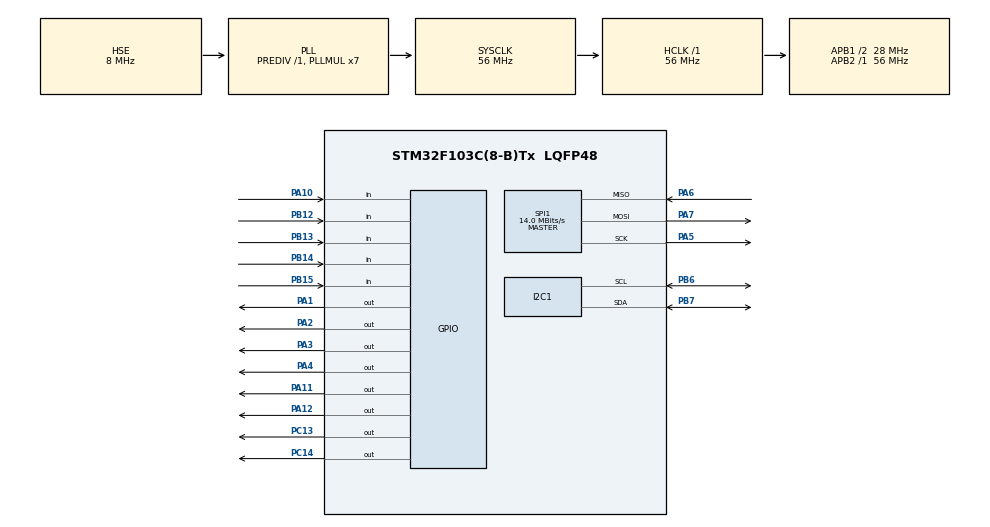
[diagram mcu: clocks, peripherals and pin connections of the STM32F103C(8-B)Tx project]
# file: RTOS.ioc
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FREERTOS.Tasks01=defaultTask,0,512,StartDefaultTask,Default,NULL,Dynamic,NULL,NULL
Mcu.Family=STM32F1
Mcu.Name=STM32F103C(8-B)Tx
Mcu.Package=LQFP48
NVIC.PriorityGroup=NVIC_PRIORITYGROUP_4
NVIC.TIM1_UP_IRQn=true\:0\:0\:false\:false\:true\:false\:false\:true
NVIC.TimeBase=TIM1_UP_IRQn
NVIC.TimeBaseIP=TIM1
PA1.Signal=GPIO_Output
PA10.GPIO_PuPd=GPIO_PULLUP
PA10.Signal=GPIO_Input
PA11.Signal=GPIO_Output
PA12.Signal=GPIO_Output
PA13.Mode=Serial_Wire
PA13.Signal=SYS_JTMS-SWDIO
PA14.Mode=Serial_Wire
PA14.Signal=SYS_JTCK-SWCLK
PA2.Signal=GPIO_Output
PA3.Signal=GPIO_Output
PA4.Signal=GPIO_Output
PA5.Mode=Full_Duplex_Master
PA5.Signal=SPI1_SCK
PA6.Mode=Full_Duplex_Master
PA6.Signal=SPI1_MISO
PA7.Mode=Full_Duplex_Master
PA7.Signal=SPI1_MOSI
PB12.GPIO_PuPd=GPIO_PULLUP
PB12.Signal=GPIO_Input
PB13.GPIO_PuPd=GPIO_PULLUP
PB13.Signal=GPIO_Input
PB14.GPIO_PuPd=GPIO_PULLUP
PB14.Signal=GPIO_Input
PB15.GPIO_PuPd=GPIO_PULLUP
PB15.Signal=GPIO_Input
PB6.Mode=I2C
PB6.Signal=I2C1_SCL
PB7.Mode=I2C
PB7.Signal=I2C1_SDA
PC13-TAMPER-RTC.PinState=GPIO_PIN_SET
PC13-TAMPER-RTC.Signal=GPIO_Output
PC14-OSC32_IN.Signal=GPIO_Output
PD0-OSC_IN.Mode=HSE-External-Oscillator
PD0-OSC_IN.Signal=RCC_OSC_IN
PD1-OSC_OUT.Mode=HSE-External-Oscillator
PD1-OSC_OUT.Signal=RCC_OSC_OUT
ProjectManager.HeapSize=0x200
ProjectManager.StackSize=0x400
ProjectManager.TargetToolchain=MDK-ARM V5
RCC.AHBFreq_Value=56000000
RCC.APB1CLKDivider=RCC_HCLK_DIV2
RCC.APB1Freq_Value=28000000
RCC.APB1TimFreq_Value=56000000
RCC.APB2Freq_Value=56000000
RCC.APB2TimFreq_Value=56000000
RCC.HCLKFreq_Value=56000000
RCC.PLLMUL=RCC_PLL_MUL7
RCC.PLLSourceVirtual=RCC_PLLSOURCE_HSE
RCC.SYSCLKFreq_VALUE=56000000
RCC.SYSCLKSource=RCC_SYSCLKSOURCE_PLLCLK
RCC.USBFreq_Value=56000000
SPI1.BaudRatePrescaler=SPI_BAUDRATEPRESCALER_4
SPI1.CalculateBaudRate=14.0 MBits/s
SPI1.Direction=SPI_DIRECTION_2LINES
SPI1.Mode=SPI_MODE_MASTER
SPI1.VirtualType=VM_MASTER
TIM2.Period=0xFFFF-1
TIM2.Prescaler=56-1
VP_FREERTOS_VS_CMSIS_V1.Mode=CMSIS_V1
VP_SYS_VS_tim1.Mode=TIM1
VP_TIM2_VS_ClockSourceINT.Mode=Internal
board=custom

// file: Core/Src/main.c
/* USER CODE BEGIN Header */
/**
  ******************************************************************************
  * @file           : main.c
  * @brief          : Main program body
  ******************************************************************************
  * @attention
  *
  * <h2><center>&copy; Copyright (c) 2020 STMicroelectronics.
  * All rights reserved.</center></h2>
  *
  * This software component is licensed by ST under Ultimate Liberty license
  * SLA0044, the "License"; You may not use this file except in compliance with
  * the License. You may obtain a copy of the License at:
  *                             www.st.com/SLA0044
  *
  ******************************************************************************
  */
/* USER CODE END Header */

#include "main.h"
#include "cmsis_os.h"

/* USER CODE BEGIN Includes */
#include "ds1307.h"
#include "i2c-lcd.h"
#include "rc522.h"
#include "stdio.h"
#include "flash.h"
#include "string.h"
/* USER CODE END Includes */

/* USER CODE BEGIN PTD */
int i=0;
/* USER CODE END PTD */

I2C_HandleTypeDef hi2c1;

SPI_HandleTypeDef hspi1;

TIM_HandleTypeDef htim2;

osThreadId defaultTaskHandle;

void SystemClock_Config(void);
static void MX_GPIO_Init(void);
static void MX_I2C1_Init(void);
static void MX_SPI1_Init(void);
static void MX_TIM2_Init(void);
void StartDefaultTask(void const * argument);

/* USER CODE BEGIN PFP */
DS1307_Handle ds1307;
DS1307_TIME time;
I2C_HandleTypeDef i2c_handle;
void delay (uint16_t times)
{
	/* change your code here for the delay in microseconds */
	__HAL_TIM_SET_COUNTER(&htim2, 0);
	while ((__HAL_TIM_GET_COUNTER(&htim2))<times);
}
uint8_t Rh_byte1, Rh_byte2, Temp_byte1, Temp_byte2;
uint16_t SUM, RH, TEMP;
uint8_t Presence = 0;
int Temperature = 0;
int Humidity = 0;
char str1[20];
char str2[20];

/* USER CODE END PFP */

/* USER CODE BEGIN 0 */
#define DHT11_PORT GPIOC
#define DHT11_PIN GPIO_PIN_14
/* USER CODE END 0 */
void Set_Pin_Output (GPIO_TypeDef *GPIOx, uint16_t GPIO_Pin)
{
	GPIO_InitTypeDef GPIO_InitStruct = {0};
	GPIO_InitStruct.Pin = GPIO_Pin;
	GPIO_InitStruct.Mode = GPIO_MODE_OUTPUT_PP;
	GPIO_InitStruct.Speed = GPIO_SPEED_FREQ_HIGH;
	HAL_GPIO_Init(GPIOx, &GPIO_InitStruct);
}
void Set_Pin_Input (GPIO_TypeDef *GPIOx, uint16_t GPIO_Pin)
{
	GPIO_InitTypeDef GPIO_InitStruct = {0};
	GPIO_InitStruct.Pin = GPIO_Pin;
	GPIO_InitStruct.Mode = GPIO_MODE_INPUT;
	GPIO_InitStruct.Pull = GPIO_NOPULL;
	HAL_GPIO_Init(GPIOx, &GPIO_InitStruct);
}
void DHT11_Start (void)
{
	Set_Pin_Output (DHT11_PORT, DHT11_PIN);  // set the pin as output
	HAL_GPIO_WritePin (DHT11_PORT, DHT11_PIN, GPIO_PIN_SET);
	delay(1000);//1ms

	HAL_GPIO_WritePin (DHT11_PORT, DHT11_PIN, GPIO_PIN_RESET);   // pull the pin low
	delay (18000);   // wait for 18ms
    HAL_GPIO_WritePin (DHT11_PORT, DHT11_PIN, GPIO_PIN_SET);   // pull the pin high
	delay (20);   // wait for 20us
	Set_Pin_Input(DHT11_PORT, DHT11_PIN);    // set as input
}
uint8_t DHT11_Check_Response (void)
{
	uint8_t Response = 0;
	delay (40);
	if (!(HAL_GPIO_ReadPin (DHT11_PORT, DHT11_PIN)))
	{
		delay (80);
		if ((HAL_GPIO_ReadPin (DHT11_PORT, DHT11_PIN))) Response = 1;
		else Response = -1; // 255
	}
	while ((HAL_GPIO_ReadPin (DHT11_PORT, DHT11_PIN)));		// wait for the pin to go low

	return Response;
}
uint8_t DHT11_Read (void)
{
	uint8_t k,l;
	for (l=0;l<8;l++)
	{
		while (!(HAL_GPIO_ReadPin (DHT11_PORT, DHT11_PIN)));   // wait for the pin to go high
		delay (40);   // wait for 40 us
		if (!(HAL_GPIO_ReadPin (DHT11_PORT, DHT11_PIN)))   // if the pin is low
		{
			k&= ~(1<<(7-l)); 			// write 0
		}
		else k|= (1<<(7-l));  // if the pin is high, write 1
		while ((HAL_GPIO_ReadPin (DHT11_PORT, DHT11_PIN)));		// wait for the pin to go low
	}
	return k;
}
DS1307_RESULT confDS1307(void) {

ds1307.i2c = &i2c_handle;
 ds1307.DS1307_ADDRESS = 0xD0;
 ds1307.DS1307_CLOCK = 100000;
 ds1307.DS1307_I2Cx = I2C1;
 ds1307.TIMEOUT = 1000;
 DS1307_RESULT res;
 res = DS1307_Init(&ds1307);
 if (res != DS1307_RES_OK) {
 return DS1307_RES_ERROR;
 }
 res = DS1307_ClockResume(&ds1307);
 if (res != DS1307_RES_OK) {
 return DS1307_RES_ERROR;
 }
 res = DS1307_EnableSquareWave(&ds1307);
 if (res != DS1307_RES_OK) {
 return DS1307_RES_ERROR;
 }
 res = DS1307_SelectRate(&ds1307, DS1307_RATE_1HZ);
 if (res != DS1307_RES_OK) {
 return DS1307_RES_ERROR;
 }
 return DS1307_RES_OK;
}
char Date[20];//ngay thang
			char Now[20];//gio phut
			char Th[20];//thu
unsigned char CardID[5];
char dataOut[100];
char data[100];
int gio=0,phut=0,giay=0,ngay=0,thang=0,nam=0,thu=0;
int giosang=6,phutsang=0;
int giotoi=18,phuttoi=0;
char giosang2[10],giotoi2[10],phutsang2[10],phuttoi2[10];
char gio2[10],phut2[10],giay2[10],ngay2[10],thang2[10],nam2[10];
int o;
int nhietdo =40;
int doam = 70;
char nhietdo2[10];
char doam2[10];
//int state=0;
//int bug=0;
#define DATA_START_ADDRESS 		 	((uint32_t)0x0801FC00)	//Page 127
#define LENGTH_START_ADDRESS 		((uint32_t)0x0801F810)	//Page 126
int main(void)
{

  /* MCU Configuration--------------------------------------------------------*/

  /* Reset of all peripherals, Initializes the Flash interface and the Systick. */
  HAL_Init();

  /* Configure the system clock */
  SystemClock_Config();

  /* Initialize all configured peripherals */
  MX_GPIO_Init();
  MX_I2C1_Init();
  MX_SPI1_Init();
  MX_TIM2_Init();
  /* USER CODE BEGIN 2 */
HAL_TIM_Base_Start(&htim2);
  /* USER CODE END 2 */

  /* Create the thread(s) */
  /* definition and creation of defaultTask */
  osThreadDef(defaultTask, StartDefaultTask, osPriorityNormal, 0, 512);
  defaultTaskHandle = osThreadCreate(osThread(defaultTask), NULL);

  /* Start scheduler */
  osKernelStart();

  /* We should never get here as control is now taken by the scheduler */
  /* Infinite loop */
  while (1)
  {

  }
}

void SystemClock_Config(void)
{
  RCC_OscInitTypeDef RCC_OscInitStruct = {0};
  RCC_ClkInitTypeDef RCC_ClkInitStruct = {0};

  /** Initializes the CPU, AHB and APB busses clocks
  */
  RCC_OscInitStruct.OscillatorType = RCC_OSCILLATORTYPE_HSE;
  RCC_OscInitStruct.HSEState = RCC_HSE_ON;
  RCC_OscInitStruct.HSEPredivValue = RCC_HSE_PREDIV_DIV1;
  RCC_OscInitStruct.HSIState = RCC_HSI_ON;
  RCC_OscInitStruct.PLL.PLLState = RCC_PLL_ON;
  RCC_OscInitStruct.PLL.PLLSource = RCC_PLLSOURCE_HSE;
  RCC_OscInitStruct.PLL.PLLMUL = RCC_PLL_MUL7;
  if (HAL_RCC_OscConfig(&RCC_OscInitStruct) != HAL_OK)
  {
    Error_Handler();
  }
  /** Initializes the CPU, AHB and APB busses clocks
  */
  RCC_ClkInitStruct.ClockType = RCC_CLOCKTYPE_HCLK|RCC_CLOCKTYPE_SYSCLK
                              |RCC_CLOCKTYPE_PCLK1|RCC_CLOCKTYPE_PCLK2;
  RCC_ClkInitStruct.SYSCLKSource = RCC_SYSCLKSOURCE_PLLCLK;
  RCC_ClkInitStruct.AHBCLKDivider = RCC_SYSCLK_DIV1;
  RCC_ClkInitStruct.APB1CLKDivider = RCC_HCLK_DIV2;
  RCC_ClkInitStruct.APB2CLKDivider = RCC_HCLK_DIV1;

  if (HAL_RCC_ClockConfig(&RCC_ClkInitStruct, FLASH_LATENCY_2) != HAL_OK)
  {
    Error_Handler();
  }
}

static void MX_I2C1_Init(void)
{

  hi2c1.Instance = I2C1;
  hi2c1.Init.ClockSpeed = 100000;
  hi2c1.Init.DutyCycle = I2C_DUTYCYCLE_2;
  hi2c1.Init.OwnAddress1 = 0;
  hi2c1.Init.AddressingMode = I2C_ADDRESSINGMODE_7BIT;
  hi2c1.Init.DualAddressMode = I2C_DUALADDRESS_DISABLE;
  hi2c1.Init.OwnAddress2 = 0;
  hi2c1.Init.GeneralCallMode = I2C_GENERALCALL_DISABLE;
  hi2c1.Init.NoStretchMode = I2C_NOSTRETCH_DISABLE;
  if (HAL_I2C_Init(&hi2c1) != HAL_OK)
  {
    Error_Handler();
  }

}

static void MX_SPI1_Init(void)
{

  /* SPI1 parameter configuration*/
  hspi1.Instance = SPI1;
  hspi1.Init.Mode = SPI_MODE_MASTER;
  hspi1.Init.Direction = SPI_DIRECTION_2LINES;
  hspi1.Init.DataSize = SPI_DATASIZE_8BIT;
  hspi1.Init.CLKPolarity = SPI_POLARITY_LOW;
  hspi1.Init.CLKPhase = SPI_PHASE_1EDGE;
  hspi1.Init.NSS = SPI_NSS_SOFT;
  hspi1.Init.BaudRatePrescaler = SPI_BAUDRATEPRESCALER_4;
  hspi1.Init.FirstBit = SPI_FIRSTBIT_MSB;
  hspi1.Init.TIMode = SPI_TIMODE_DISABLE;
  hspi1.Init.CRCCalculation = SPI_CRCCALCULATION_DISABLE;
  hspi1.Init.CRCPolynomial = 10;
  if (HAL_SPI_Init(&hspi1) != HAL_OK)
  {
    Error_Handler();
  }

}

static void MX_TIM2_Init(void)
{

  TIM_ClockConfigTypeDef sClockSourceConfig = {0};
  TIM_MasterConfigTypeDef sMasterConfig = {0};

  htim2.Instance = TIM2;
  htim2.Init.Prescaler = 56-1;
  htim2.Init.CounterMode = TIM_COUNTERMODE_UP;
  htim2.Init.Period = 0xFFFF-1;
  htim2.Init.ClockDivision = TIM_CLOCKDIVISION_DIV1;
  htim2.Init.AutoReloadPreload = TIM_AUTORELOAD_PRELOAD_DISABLE;
  if (HAL_TIM_Base_Init(&htim2) != HAL_OK)
  {
    Error_Handler();
  }
  sClockSourceConfig.ClockSource = TIM_CLOCKSOURCE_INTERNAL;
  if (HAL_TIM_ConfigClockSource(&htim2, &sClockSourceConfig) != HAL_OK)
  {
    Error_Handler();
  }
  sMasterConfig.MasterOutputTrigger = TIM_TRGO_RESET;
  sMasterConfig.MasterSlaveMode = TIM_MASTERSLAVEMODE_DISABLE;
  if (HAL_TIMEx_MasterConfigSynchronization(&htim2, &sMasterConfig) != HAL_OK)
  {
    Error_Handler();
  }

}

static void MX_GPIO_Init(void)
{
  GPIO_InitTypeDef GPIO_InitStruct = {0};

  /* GPIO Ports Clock Enable */
  __HAL_RCC_GPIOC_CLK_ENABLE();
  __HAL_RCC_GPIOD_CLK_ENABLE();
  __HAL_RCC_GPIOA_CLK_ENABLE();
  __HAL_RCC_GPIOB_CLK_ENABLE();

  /*Configure GPIO pin Output Level */
  HAL_GPIO_WritePin(GPIOC, GPIO_PIN_13, GPIO_PIN_SET);

  /*Configure GPIO pin Output Level */
 // HAL_GPIO_WritePin(GPIOC, GPIO_PIN_14, GPIO_PIN_RESET);

  /*Configure GPIO pin Output Level */
  HAL_GPIO_WritePin(GPIOA, GPIO_PIN_1|GPIO_PIN_2|GPIO_PIN_3|GPIO_PIN_4
                          |GPIO_PIN_11|GPIO_PIN_12, GPIO_PIN_RESET);

  /*Configure GPIO pins : PC13 PC14 */
  GPIO_InitStruct.Pin = GPIO_PIN_13;//|GPIO_PIN_14;
  GPIO_InitStruct.Mode = GPIO_MODE_OUTPUT_PP;
  GPIO_InitStruct.Pull = GPIO_NOPULL;
  GPIO_InitStruct.Speed = GPIO_SPEED_FREQ_LOW;
  HAL_GPIO_Init(GPIOC, &GPIO_InitStruct);

  /*Configure GPIO pins : PA1 PA2 PA3 PA4
                           PA11 PA12 */
  GPIO_InitStruct.Pin = GPIO_PIN_1|GPIO_PIN_2|GPIO_PIN_3|GPIO_PIN_4
                          |GPIO_PIN_11|GPIO_PIN_12;
  GPIO_InitStruct.Mode = GPIO_MODE_OUTPUT_PP;
  GPIO_InitStruct.Pull = GPIO_NOPULL;
  GPIO_InitStruct.Speed = GPIO_SPEED_FREQ_LOW;
  HAL_GPIO_Init(GPIOA, &GPIO_InitStruct);

  /*Configure GPIO pins : PB12 PB13 PB14 PB15 */
  GPIO_InitStruct.Pin = GPIO_PIN_12|GPIO_PIN_13|GPIO_PIN_14|GPIO_PIN_15;
  GPIO_InitStruct.Mode = GPIO_MODE_INPUT;
  GPIO_InitStruct.Pull = GPIO_PULLUP;
  HAL_GPIO_Init(GPIOB, &GPIO_InitStruct);

  /*Configure GPIO pin : PA10 */
  GPIO_InitStruct.Pin = GPIO_PIN_10;
  GPIO_InitStruct.Mode = GPIO_MODE_INPUT;
  GPIO_InitStruct.Pull = GPIO_PULLUP;
  HAL_GPIO_Init(GPIOA, &GPIO_InitStruct);

}

void StartDefaultTask(void const * argument)
{
  /* USER CODE BEGIN 5 */
	if (confDS1307()!=DS1307_RES_OK)
		{
			}
		time.hour=gio;
		time.minute=phut;
		time.second=giay;
		time.day=ngay;
		time.month=thang;
		time.year=nam;
		time.date=thu;
			DS1307_SetTime(&ds1307,time);
	lcd_init();
			MFRC522_Init();
			lcd_clear_display();
			HAL_Delay(20);
		//	DHT11_Start();
  /* Infinite loop */
  for(;;)
  {
		//xuat nhiet do do am
		DHT11_Start();
	Presence = DHT11_Check_Response();
		if(Presence==1)
			{
		Rh_byte1 = DHT11_Read();
	  Rh_byte2 = DHT11_Read ();
	  Temp_byte1 = DHT11_Read ();
	  Temp_byte2 = DHT11_Read ();
	  SUM = DHT11_Read();
				TEMP = Temp_byte1;
	  RH = Rh_byte1;
				}
			HAL_Delay(1100);
					Temp_byte2=(int) Temp_byte2;
	  Temperature = (int) TEMP;
	  Humidity = (int) RH;
				sprintf (str1, "T:%0.2d.%0.2d'C  ", Temperature,Temp_byte2);
				sprintf (str2, "H:%0.1d", Humidity);
				lcd_goto_XY(0,0);
				lcd_send_string(str1);
				lcd_goto_XY(0,11);
				lcd_send_string(str2);
				lcd_goto_XY(0,15);
				lcd_send_data('%');
			//cai dat gio -- nut 1 -PA10
					if(HAL_GPIO_ReadPin(GPIOA,GPIO_PIN_10)==GPIO_PIN_RESET)
			{
				lcd_clear_display();
				HAL_Delay(50);
				lcd_goto_XY(1,0);
				lcd_send_string("Cai dat ngay gio");
				HAL_Delay(1000);
				lcd_clear_display();
				HAL_Delay(500);
				while(!(HAL_GPIO_ReadPin(GPIOB,GPIO_PIN_12)==GPIO_PIN_RESET))
					{
						sprintf(gio2,"%0.1d",gio);
						sprintf(phut2,"%0.1d",phut);
						//sprintf(giay2,"%0.1d",giay);
						lcd_goto_XY(1,0);
						lcd_send_string("Time is: ");
						lcd_goto_XY(0,2);
						lcd_send_string("h ");
						lcd_goto_XY(0,6);
						lcd_send_string("m ");
						//lcd_goto_XY(0,10);
						//lcd_send_string("s ");
						lcd_goto_XY(0,0);
						lcd_send_string(gio2);
						lcd_goto_XY(0,4);
						lcd_send_string(phut2);
						//lcd_goto_XY(0,8);
						//lcd_send_string(giay2);

				HAL_Delay(300);
					if(HAL_GPIO_ReadPin(GPIOB,GPIO_PIN_15)==GPIO_PIN_RESET)
						{
							gio=gio+1;
							if(gio>23)
								{
									gio=0;
								lcd_goto_XY(0,1);
									lcd_send_string(" ");
								}
							sprintf(gio2,"%0.2d",gio);
						}
							if(HAL_GPIO_ReadPin(GPIOB,GPIO_PIN_14)==GPIO_PIN_RESET)
						{
							phut=phut+1;
							if(phut>60)
								{
									phut=0;
									lcd_goto_XY(0,5);
									lcd_send_string(" ");
								}
							sprintf(phut2,"%0.2d",phut);
					}
				}
		time.hour=gio;
		time.minute=phut;
		time.second=giay;
		time.day=ngay;
		time.month=thang;
		time.year=nam;
		time.date=thu;
					DS1307_SetTime(&ds1307,time);
				}
			//mode New Card
	if(HAL_GPIO_ReadPin(GPIOB,GPIO_PIN_15)==GPIO_PIN_RESET)
		{
			lcd_clear_display();
			HAL_Delay(20);
			lcd_goto_XY(0,0);
			lcd_send_string("Hay quet the");
			while(!(HAL_GPIO_ReadPin(GPIOB,GPIO_PIN_12)==GPIO_PIN_RESET))
				{
			if(MFRC522_Check(CardID)==MI_OK)
				{
					//HAL_GPIO_TogglePin(GPIOC,GPIO_PIN_13);
					sprintf(data,"%02X%02X%02X%02X%02X",CardID[0],CardID[1],CardID[2],CardID[3],CardID[4]);
					lcd_clear_display();
					HAL_Delay(20);
					lcd_goto_XY(0,3);
					lcd_send_string(data);
					HAL_Delay(1000);
					Flash_ProgramPage(data,DATA_START_ADDRESS,LENGTH_START_ADDRESS);
					lcd_goto_XY(1,0);
					lcd_send_string("Saved");
				}
				}
		}
		//luc binh thuong
		if(MFRC522_Check(CardID)==MI_OK)
			{
				sprintf(data,"%02X%02X%02X%02X%02X",CardID[0],CardID[1],CardID[2],CardID[3],CardID[4]);
				Flash_ReadChar(dataOut,DATA_START_ADDRESS,LENGTH_START_ADDRESS);
				if(strcmp(data,dataOut)==0)
					{
						lcd_clear_display();
						HAL_Delay(20);
						lcd_goto_XY(0,0);
						lcd_send_string("Hop le");
						HAL_Delay(300);
						lcd_goto_XY(0,0);
						lcd_send_string("Set-up:ON");
						HAL_Delay(1000);
						while(!(HAL_GPIO_ReadPin(GPIOB,GPIO_PIN_12)==GPIO_PIN_RESET))
							{
								//mode cai nhiet do
								if(HAL_GPIO_ReadPin(GPIOB,GPIO_PIN_15)==GPIO_PIN_RESET)
								{
									lcd_clear_display();
									HAL_Delay(50);
									lcd_goto_XY(1,0);
									lcd_send_string("Cai dat nhiet do ");
									HAL_Delay(1000);
									lcd_clear_display();
									HAL_Delay(500);
									while(!(HAL_GPIO_ReadPin(GPIOB,GPIO_PIN_12)==GPIO_PIN_RESET))
										{
											sprintf(nhietdo2,"%0.1d",nhietdo);
											lcd_goto_XY(0,0);
											lcd_send_string("Nhiet do la:    ");
											lcd_goto_XY(0,13);
											lcd_send_string(nhietdo2);
									HAL_Delay(300);
										if(HAL_GPIO_ReadPin(GPIOB,GPIO_PIN_15)==GPIO_PIN_RESET)
											{
												nhietdo=nhietdo+1;
												sprintf(nhietdo2,"%0.2d",nhietdo);
											}
												if(HAL_GPIO_ReadPin(GPIOB,GPIO_PIN_14)==GPIO_PIN_RESET)
											{
												nhietdo=nhietdo-1;
												sprintf(nhietdo2,"%0.2d",nhietdo);
											}
										}
								}
								//mode cai do am
								if(HAL_GPIO_ReadPin(GPIOB,GPIO_PIN_14)==GPIO_PIN_RESET)
							{
								lcd_clear_display();
								HAL_Delay(50);
								lcd_goto_XY(1,0);
								lcd_send_string("Cai dat do am ");
								HAL_Delay(1000);
								lcd_clear_display();
								HAL_Delay(300);
								while(!(HAL_GPIO_ReadPin(GPIOB,GPIO_PIN_12)==GPIO_PIN_RESET))
									{
										sprintf(doam2,"%0.1d",doam);
										//sprintf(phut2,"%0.1d",phut);
										//sprintf(giay2,"%0.1d",giay);
										lcd_goto_XY(0,0);
										lcd_send_string("Do am la:       ");
										lcd_goto_XY(0,12);
										lcd_send_string(doam2);
								HAL_Delay(300);
									if(HAL_GPIO_ReadPin(GPIOB,GPIO_PIN_15)==GPIO_PIN_RESET)
										{
											doam=doam+1;
											sprintf(doam2,"%0.2d",doam);
										}
											if(HAL_GPIO_ReadPin(GPIOB,GPIO_PIN_14)==GPIO_PIN_RESET)
										{
											doam=doam-1;
											sprintf(doam2,"%0.2d",doam);
										}
									}
								}
							//mode cai lai thoi gian led tu dong sang
							if(HAL_GPIO_ReadPin(GPIOB,GPIO_PIN_13)==GPIO_PIN_RESET)
							{
										lcd_clear_display();
										HAL_Delay(50);
										lcd_goto_XY(1,0);
										lcd_send_string("Cai dat auto led");
										HAL_Delay(1000);
										lcd_clear_display();
										HAL_Delay(500);
										while(!(HAL_GPIO_ReadPin(GPIOB,GPIO_PIN_12)==GPIO_PIN_RESET))
									{
										sprintf(giotoi2,"%0.1d",giotoi);
										sprintf(giosang2,"%0.1d",giosang);
										lcd_goto_XY(1,0);
										lcd_send_string("Time is: ");
										lcd_goto_XY(0,0);
										lcd_send_string("ON:  h   ");
										lcd_goto_XY(0,9);
										lcd_send_string("OFF:  h ");
										lcd_goto_XY(0,3);
										lcd_send_string(giotoi2);
										lcd_goto_XY(0,13);
										lcd_send_string(giosang2);
										HAL_Delay(300);
												if(HAL_GPIO_ReadPin(GPIOB,GPIO_PIN_15)==GPIO_PIN_RESET)
													{
														giotoi=giotoi+1;
														if(giotoi>23)
															{
																giotoi=0;
															lcd_goto_XY(0,1);
																lcd_send_string(" ");
															}
														sprintf(giotoi2,"%0.2d",giotoi);
													}
														if(HAL_GPIO_ReadPin(GPIOB,GPIO_PIN_14)==GPIO_PIN_RESET)
													{
														giosang=giosang+1;
														if(giosang>23)
															{
																giosang=0;
																//lcd_goto_XY(0,5);
																//lcd_send_string(" ");
															}
														sprintf(giosang2,"%0.2d",giosang);
													}
											}
										}
									}
								}
				else
					{
						lcd_clear_display();
						HAL_Delay(20);
						lcd_goto_XY(0,0);
						lcd_send_string("Khong hop le");
						HAL_Delay(1000);
					}
				}
					if(Temperature>=nhietdo||Humidity>=doam)
					{
						HAL_GPIO_TogglePin(GPIOA,GPIO_PIN_2);
					}
					if(Temperature<nhietdo&&Humidity<doam)
					{
						HAL_GPIO_WritePin(GPIOA,GPIO_PIN_2,GPIO_PIN_RESET);
					}
					if((time.hour>=0&&time.hour<=5)||(time.hour>=18&&time.hour<=23))
					{
						HAL_GPIO_WritePin(GPIOA,GPIO_PIN_1,GPIO_PIN_SET);
					}
					else
					{
						HAL_GPIO_WritePin(GPIOA,GPIO_PIN_1,GPIO_PIN_RESET);
					}
					if(time.hour==giotoi)
					{
						HAL_GPIO_WritePin(GPIOA,GPIO_PIN_3,GPIO_PIN_SET);
					}
					if (time.hour==giosang)
					{
						HAL_GPIO_WritePin(GPIOA,GPIO_PIN_3,GPIO_PIN_RESET);
					}

//
		time=DS1307_GetTime(&ds1307);
			sprintf(Now,"%0.2d:%0.2d:%0.2d ",time.hour,time.minute,time.second);
		lcd_goto_XY(1,0);
		lcd_send_string(Now);
    osDelay(1);
  }
}
  /* USER CODE END 5 */

 /**
  * @brief  Period elapsed callback in non blocking mode
  * @note   This function is called  when TIM1 interrupt took place, inside
  * HAL_TIM_IRQHandler(). It makes a direct call to HAL_IncTick() to increment
  * a global variable "uwTick" used as application time base.
  * @param  htim : TIM handle
  * @retval None
  */
void HAL_TIM_PeriodElapsedCallback(TIM_HandleTypeDef *htim)
{
  if (htim->Instance == TIM1) {
    HAL_IncTick();
  }
}

void Error_Handler(void)
{
}

/************************ (C) COPYRIGHT STMicroelectronics *****END OF FILE****/
